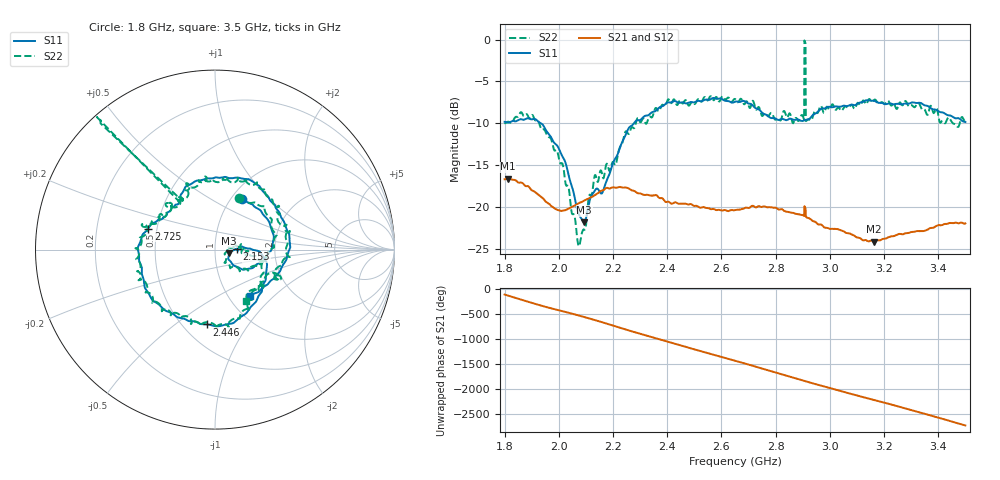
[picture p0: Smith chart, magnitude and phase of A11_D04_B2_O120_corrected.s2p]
! Created with skrf 1.9.0 (http://scikit-rf.org).
# Hz S RI R 50.0
!freq ReS11 ImS11 ReS21 ImS21 ReS12 ImS12 ReS22 ImS22
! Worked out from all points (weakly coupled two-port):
!   1601 points, 1.8 GHz to 3.5 GHz, reference 50 ohm
!   highest |S21| = -16.63 dB at 1.812 GHz (marker M1); lowest = -24.2 dB at 3.163 GHz (marker M2)
!   lowest |S11| = -21.8 dB at 2.093 GHz (marker M3), VSWR 1.18, Z = 58.5 - j2.44 ohm
!   |S11| at or under -10 dB: 1.934 GHz to 2.277 GHz (342.8 MHz wide, 16.3 % of centre)
!   |S22| runs from -24.7 to -0.1 dB; largest |S21 - S12| = 0.0023
!   S11 on the Smith chart (normalised r, x): 1.8 GHz: 1.12, +0.71; 2.153 GHz: 1.28, +0.01; 2.446 GHz: 0.65, -0.66; 2.725 GHz: 0.45, +0.12; 3.5 GHz: 1.25, -0.72
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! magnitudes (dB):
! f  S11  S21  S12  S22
! 1.8 GHz  -9.8  -16.7  -16.7  -10.0
! 1.812 GHz  -9.9  -16.6  -16.6  -9.8
! 1.903 GHz  -9.5  -18.1  -18.0  -9.0
! 1.968 GHz  -11.5  -19.8  -19.8  -11.7
! 2.015 GHz  -14.0  -20.4  -20.5  -14.9
! 2.072 GHz  -20.7  -19.6  -19.6  -24.6
! 2.084 GHz  -21.4  -19.4  -19.4  -23.3
! 2.093 GHz  -21.8  -19.2  -19.3  -22.7
! 2.13 GHz  -18.2  -18.6  -18.6  -16.5
! 2.153 GHz  -18.3  -18.1  -18.2  -15.7
! 2.259 GHz  -10.5  -17.8  -17.8  -11.2
! 2.367 GHz  -8.2  -18.8  -18.8  -8.5
! 2.446 GHz  -7.5  -19.6  -19.6  -7.3
! 2.65 GHz  -7.4  -20.4  -20.3  -7.1
! 2.725 GHz  -8.2  -20.1  -20.0  -8.2
! 2.868 GHz  -9.6  -20.7  -20.7  -9.8
! 2.897 GHz  -9.7  -21.0  -20.9  -9.0
! 2.902 GHz  -9.7  -21.0  -21.0  -9.3
! 2.934 GHz  -9.1  -21.6  -21.6  -9.5
! 3.163 GHz  -7.3  -24.2  -24.1  -7.2
! 3.217 GHz  -7.6  -23.6  -23.6  -7.4
! 3.5 GHz  -9.9  -22.0  -22.0  -9.5
